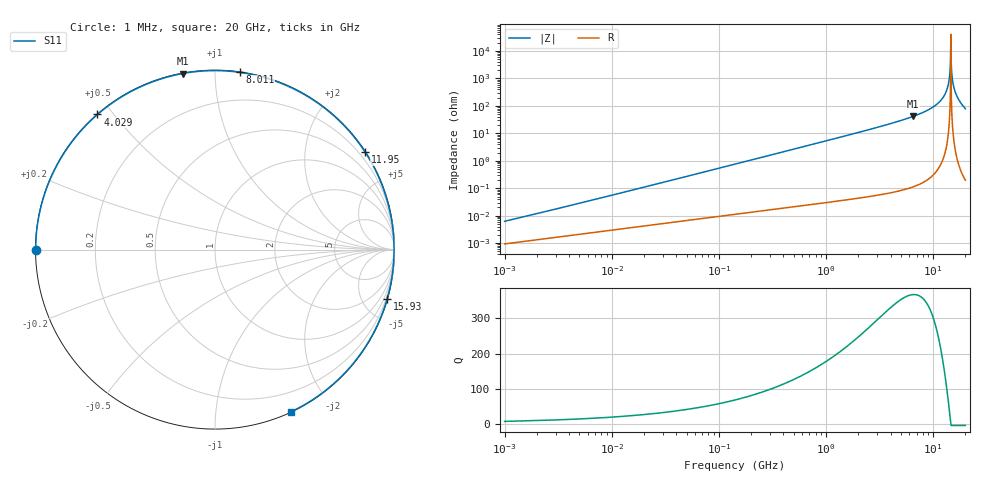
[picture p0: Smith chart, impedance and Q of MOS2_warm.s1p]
# GHz S RI R 50
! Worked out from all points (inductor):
!   10001 points, 1 MHz to 20 GHz, reference 50 ohm
!   read as one part to ground: L = 852 pH near 101 MHz
!   highest Q = 368 at 6.521 GHz (marker M1), where L = 1.02 nH
!   self-resonance near 14.62 GHz
!   S11 on the Smith chart (normalised r, x): 1 MHz: 0.00, +0.00; 4.029 GHz: 0.00, +0.46; 8.011 GHz: 0.00, +1.15; 11.95 GHz: 0.02, +3.37; 15.93 GHz: 0.06, -7.13; 20 GHz: 0.00, -1.57
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0.001  -1 0.000249
0.623  -0.9903 0.1319
1.241  -0.9643 0.2598
1.865  -0.9214 0.3845
2.501  -0.8612 0.5047
3.249  -0.7704 0.6343
4.029  -0.6549 0.7527
5.001  -0.4857 0.8713
5.769  -0.3365 0.9389
6.521  -0.1811 0.9808
7.501  0.0286 0.9968
8.011  0.138 0.9876
8.993  0.3434 0.9362
10.001  0.5384 0.8394
10.941  0.6975 0.7128
11.953  0.8361 0.5437
12.501  0.8947 0.4407
13.135  0.9466 0.3142
13.759  0.9803 0.1842
14.379  0.9961 0.0521
15.001  0.9942 -0.081
15.925  0.9591 -0.2743
16.699  0.9014 -0.4275
17.501  0.8165 -0.5733
18.171  0.7281 -0.6821
18.813  0.6305 -0.7733
19.463  0.5206 -0.8511
20.001  0.4228 -0.9037
